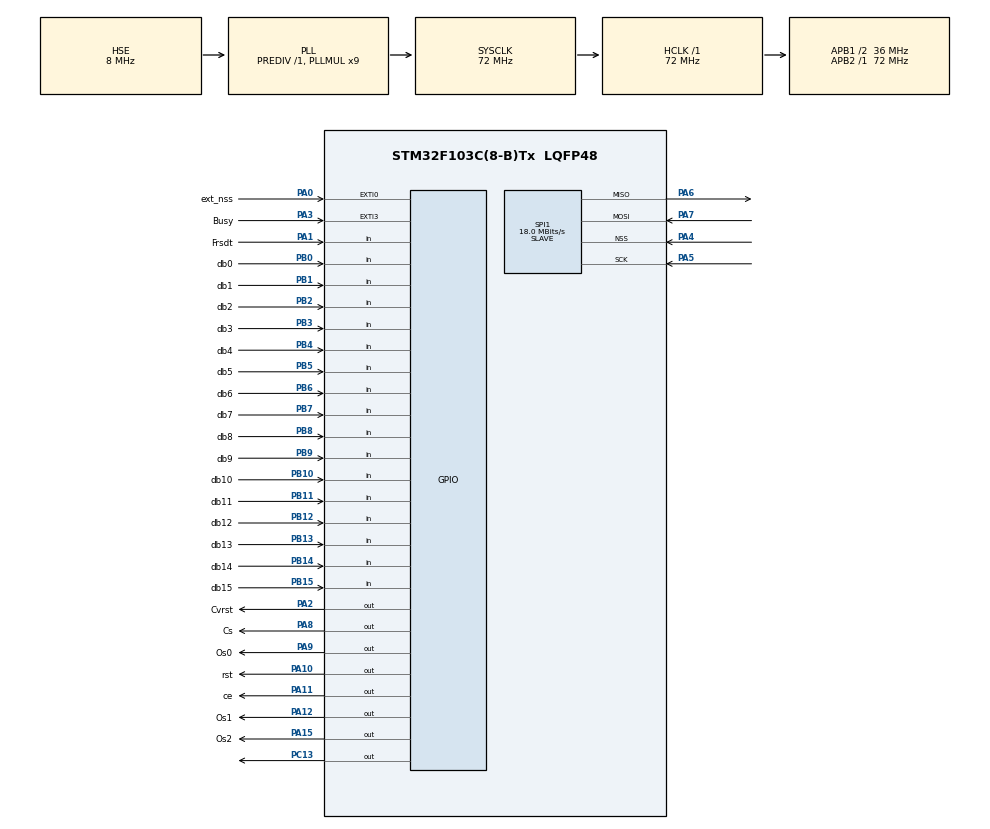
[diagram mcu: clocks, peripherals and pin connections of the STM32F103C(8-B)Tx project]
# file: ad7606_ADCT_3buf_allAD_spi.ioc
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Dma.Request0=SPI1_RX
Dma.Request1=SPI1_TX
Dma.SPI1_RX.0.Direction=DMA_PERIPH_TO_MEMORY
Dma.SPI1_RX.0.Instance=DMA1_Channel2
Dma.SPI1_RX.0.MemDataAlignment=DMA_MDATAALIGN_BYTE
Dma.SPI1_RX.0.MemInc=DMA_MINC_ENABLE
Dma.SPI1_RX.0.Mode=DMA_CIRCULAR
Dma.SPI1_RX.0.PeriphDataAlignment=DMA_PDATAALIGN_BYTE
Dma.SPI1_RX.0.PeriphInc=DMA_PINC_DISABLE
Dma.SPI1_RX.0.Priority=DMA_PRIORITY_HIGH
Dma.SPI1_TX.1.Direction=DMA_MEMORY_TO_PERIPH
Dma.SPI1_TX.1.Instance=DMA1_Channel3
Dma.SPI1_TX.1.MemDataAlignment=DMA_MDATAALIGN_BYTE
Dma.SPI1_TX.1.MemInc=DMA_MINC_ENABLE
Dma.SPI1_TX.1.Mode=DMA_CIRCULAR
Dma.SPI1_TX.1.PeriphDataAlignment=DMA_PDATAALIGN_BYTE
Dma.SPI1_TX.1.PeriphInc=DMA_PINC_DISABLE
Dma.SPI1_TX.1.Priority=DMA_PRIORITY_HIGH
FREERTOS.BinarySemaphores01=habENV,Dynamic,NULL
FREERTOS.HEAP_NUMBER=4
FREERTOS.INCLUDE_xEventGroupSetBitFromISR=0
FREERTOS.Tasks01=enviaTask,24,128,StartEnviaTask,Default,NULL,Dynamic,NULL,NULL
FREERTOS.configGENERATE_RUN_TIME_STATS=1
FREERTOS.configTOTAL_HEAP_SIZE=6072
FREERTOS.configUSE_TIMERS=1
Mcu.Family=STM32F1
Mcu.Name=STM32F103C(8-B)Tx
Mcu.Package=LQFP48
NVIC.DMA1_Channel2_IRQn=true\:5\:0\:false\:false\:true\:true\:false\:true
NVIC.DMA1_Channel3_IRQn=true\:5\:0\:true\:false\:true\:true\:false\:true
NVIC.EXTI0_IRQn=true\:5\:0\:false\:false\:true\:true\:true\:true
NVIC.EXTI3_IRQn=true\:5\:0\:true\:false\:true\:true\:true\:true
NVIC.PriorityGroup=NVIC_PRIORITYGROUP_4
NVIC.SPI1_IRQn=true\:5\:0\:true\:false\:true\:true\:true\:true
NVIC.TIM1_BRK_IRQn=true\:5\:0\:false\:false\:true\:true\:true\:true
NVIC.TIM2_IRQn=true\:0\:0\:false\:false\:true\:false\:false\:true
NVIC.TimeBase=TIM2_IRQn
NVIC.TimeBaseIP=TIM2
PA0-WKUP.GPIO_Label=ext_nss
PA0-WKUP.Signal=GPXTI0
PA1.GPIO_Label=Frsdt
PA1.Signal=GPIO_Input
PA10.GPIO_Label=rst
PA10.GPIO_Speed=GPIO_SPEED_FREQ_LOW
PA10.Signal=GPIO_Output
PA11.GPIO_Label=ce
PA11.GPIO_Speed=GPIO_SPEED_FREQ_HIGH
PA11.Signal=GPIO_Output
PA12.GPIO_Label=Os1
PA12.Signal=GPIO_Output
PA13.Mode=Serial_Wire
PA13.Signal=SYS_JTMS-SWDIO
PA14.Mode=Serial_Wire
PA14.Signal=SYS_JTCK-SWCLK
PA15.GPIO_Label=Os2
PA15.Signal=GPIO_Output
PA2.GPIO_Label=Cvrst
PA2.GPIO_Speed=GPIO_SPEED_FREQ_HIGH
PA2.PinState=GPIO_PIN_SET
PA2.Signal=GPIO_Output
PA3.GPIO_Label=Busy
PA3.GPIO_ModeDefaultEXTI=GPIO_MODE_IT_FALLING
PA3.Signal=GPXTI3
PA4.Mode=NSS_Signal_Hard_Input
PA4.Signal=SPI1_NSS
PA5.Mode=Full_Duplex_Slave
PA5.Signal=SPI1_SCK
PA6.Mode=Full_Duplex_Slave
PA6.Signal=SPI1_MISO
PA7.Mode=Full_Duplex_Slave
PA7.Signal=SPI1_MOSI
PA8.GPIO_Label=Cs
PA8.GPIO_Speed=GPIO_SPEED_FREQ_HIGH
PA8.PinState=GPIO_PIN_SET
PA8.Signal=GPIO_Output
PA9.GPIO_Label=Os0
PA9.Signal=GPIO_Output
PB0.GPIO_Label=db0
PB0.Signal=GPIO_Input
PB1.GPIO_Label=db1
PB1.Signal=GPIO_Input
PB10.GPIO_Label=db10
PB10.Signal=GPIO_Input
PB11.GPIO_Label=db11
PB11.Signal=GPIO_Input
PB12.GPIO_Label=db12
PB12.Signal=GPIO_Input
PB13.GPIO_Label=db13
PB13.Signal=GPIO_Input
PB14.GPIO_Label=db14
PB14.Signal=GPIO_Input
PB15.GPIO_Label=db15
PB15.Signal=GPIO_Input
PB2.GPIO_Label=db2
PB2.Signal=GPIO_Input
PB3.GPIO_Label=db3
PB3.Signal=GPIO_Input
PB4.GPIO_Label=db4
PB4.Signal=GPIO_Input
PB5.GPIO_Label=db5
PB5.Signal=GPIO_Input
PB6.GPIO_Label=db6
PB6.Signal=GPIO_Input
PB7.GPIO_Label=db7
PB7.Signal=GPIO_Input
PB8.GPIO_Label=db8
PB8.Signal=GPIO_Input
PB9.GPIO_Label=db9
PB9.Signal=GPIO_Input
PC13-TAMPER-RTC.Signal=GPIO_Output
PC14-OSC32_IN.Mode=LSE-External-Oscillator
PC14-OSC32_IN.Signal=RCC_OSC32_IN
PC15-OSC32_OUT.Mode=LSE-External-Oscillator
PC15-OSC32_OUT.Signal=RCC_OSC32_OUT
PD0-OSC_IN.Mode=HSE-External-Oscillator
PD0-OSC_IN.Signal=RCC_OSC_IN
PD1-OSC_OUT.Mode=HSE-External-Oscillator
PD1-OSC_OUT.Signal=RCC_OSC_OUT
ProjectManager.HeapSize=0x200
ProjectManager.StackSize=0x400
ProjectManager.TargetToolchain=STM32CubeIDE
RCC.AHBFreq_Value=72000000
RCC.APB1CLKDivider=RCC_HCLK_DIV2
RCC.APB1Freq_Value=36000000
RCC.APB1TimFreq_Value=72000000
RCC.APB2Freq_Value=72000000
RCC.APB2TimFreq_Value=72000000
RCC.HCLKFreq_Value=72000000
RCC.PLLMUL=RCC_PLL_MUL9
RCC.PLLSourceVirtual=RCC_PLLSOURCE_HSE
RCC.RTCClockSelection=RCC_RTCCLKSOURCE_LSE
RCC.SYSCLKFreq_VALUE=72000000
RCC.SYSCLKSource=RCC_SYSCLKSOURCE_PLLCLK
RCC.USBFreq_Value=48000000
RCC.USBPrescaler=RCC_USBCLKSOURCE_PLL_DIV1_5
RTC.AutoPrediv=0
RTC.Format=RTC_FORMAT_BIN
RTC.OutPut=RTC_OUTPUTSOURCE_SECOND
SPI1.BaudRatePrescaler=SPI_BAUDRATEPRESCALER_4
SPI1.CalculateBaudRate=18.0 MBits/s
SPI1.DataSize=SPI_DATASIZE_8BIT
SPI1.Direction=SPI_DIRECTION_2LINES
SPI1.Mode=SPI_MODE_SLAVE
SPI1.VirtualNSS=VM_NSSHARD
SPI1.VirtualType=VM_SLAVE
TIM1.AutoReloadPreload=TIM_AUTORELOAD_PRELOAD_ENABLE
TIM1.Period=2000
TIM1.Prescaler=35
TIM1.TIM_MasterOutputTrigger=TIM_TRGO_RESET
TIM1.TIM_MasterSlaveMode=TIM_MASTERSLAVEMODE_DISABLE
VP_FREERTOS_VS_CMSIS_V2.Mode=CMSIS_V2
VP_RTC_VS_RTC_Activate.Mode=RTC_Enabled
VP_SYS_VS_tim2.Mode=TIM2
VP_TIM1_VS_ClockSourceINT.Mode=Internal
board=custom

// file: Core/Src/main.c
/* USER CODE BEGIN Header */
/**
  ******************************************************************************
  * @file           : main.c
  * @brief          : Main program body
  ******************************************************************************
  * @attention
  *
  * <h2><center>&copy; Copyright (c) 2020 STMicroelectronics.
  * All rights reserved.</center></h2>
  *
  * This software component is licensed by ST under Ultimate Liberty license
  * SLA0044, the "License"; You may not use this file except in compliance with
  * the License. You may obtain a copy of the License at:
  *                             www.st.com/SLA0044
  *
  ******************************************************************************
  */
/* USER CODE END Header */

#include "main.h"
#include "cmsis_os.h"

/* USER CODE BEGIN Includes */
#include "stream_buffer.h"
#include "cmsis_os2.h"
/* USER CODE END Includes */

/* USER CODE BEGIN PTD */
StreamBufferHandle_t xStreamBuffer;
StreamBufferHandle_t zStreamBuffer;
/* USER CODE END PTD */

RTC_HandleTypeDef hrtc;

SPI_HandleTypeDef hspi1;
DMA_HandleTypeDef hdma_spi1_rx;
DMA_HandleTypeDef hdma_spi1_tx;

TIM_HandleTypeDef htim1;

/* Definitions for enviaTask */
osThreadId_t enviaTaskHandle;
const osThreadAttr_t enviaTask_attributes = {
  .name = "enviaTask",
  .priority = (osPriority_t) osPriorityNormal,
  .stack_size = 128 * 4
};
/* Definitions for habENV */
osSemaphoreId_t habENVHandle;
const osSemaphoreAttr_t habENV_attributes = {
  .name = "habENV"
};
/* USER CODE BEGIN PV */
int i=0, j=0, k=0;
/* USER CODE END PV */

void SystemClock_Config(void);
static void MX_GPIO_Init(void);
static void MX_DMA_Init(void);
static void MX_SPI1_Init(void);
static void MX_RTC_Init(void);
static void MX_TIM1_Init(void);
void StartEnviaTask(void *argument);

/* USER CODE BEGIN PFP */
void HAL_GPIO_EXTI_Callback(uint16_t GPIO_Pin);
void Reset(void);
void Converst(void);
void Read(void);
void vAFunction( void );
/* USER CODE END PFP */

int main(void)
{

  /* MCU Configuration--------------------------------------------------------*/

  /* Reset of all peripherals, Initializes the Flash interface and the Systick. */
  HAL_Init();

  /* Configure the system clock */
  SystemClock_Config();

  /* Initialize all configured peripherals */
  MX_GPIO_Init();
  MX_DMA_Init();
  MX_SPI1_Init();
  MX_RTC_Init();
  MX_TIM1_Init();
  /* USER CODE BEGIN 2 */
  HAL_TIM_Base_Start_IT(&htim1);
  /* USER CODE END 2 */

  /* Init scheduler */
  osKernelInitialize();

  /* Create the semaphores(s) */
  /* creation of habENV */
  habENVHandle = osSemaphoreNew(1, 1, &habENV_attributes);

  /* Create the thread(s) */
  /* creation of enviaTask */
  enviaTaskHandle = osThreadNew(StartEnviaTask, NULL, &enviaTask_attributes);

  /* Start scheduler */
  osKernelStart();

  /* We should never get here as control is now taken by the scheduler */
  /* Infinite loop */
  while (1)
  {

  }
}

void SystemClock_Config(void)
{
  RCC_OscInitTypeDef RCC_OscInitStruct = {0};
  RCC_ClkInitTypeDef RCC_ClkInitStruct = {0};
  RCC_PeriphCLKInitTypeDef PeriphClkInit = {0};

  /** Initializes the CPU, AHB and APB busses clocks
  */
  RCC_OscInitStruct.OscillatorType = RCC_OSCILLATORTYPE_HSE|RCC_OSCILLATORTYPE_LSE;
  RCC_OscInitStruct.HSEState = RCC_HSE_ON;
  RCC_OscInitStruct.HSEPredivValue = RCC_HSE_PREDIV_DIV1;
  RCC_OscInitStruct.LSEState = RCC_LSE_ON;
  RCC_OscInitStruct.HSIState = RCC_HSI_ON;
  RCC_OscInitStruct.PLL.PLLState = RCC_PLL_ON;
  RCC_OscInitStruct.PLL.PLLSource = RCC_PLLSOURCE_HSE;
  RCC_OscInitStruct.PLL.PLLMUL = RCC_PLL_MUL9;
  if (HAL_RCC_OscConfig(&RCC_OscInitStruct) != HAL_OK)
  {
    Error_Handler();
  }
  /** Initializes the CPU, AHB and APB busses clocks
  */
  RCC_ClkInitStruct.ClockType = RCC_CLOCKTYPE_HCLK|RCC_CLOCKTYPE_SYSCLK
                              |RCC_CLOCKTYPE_PCLK1|RCC_CLOCKTYPE_PCLK2;
  RCC_ClkInitStruct.SYSCLKSource = RCC_SYSCLKSOURCE_PLLCLK;
  RCC_ClkInitStruct.AHBCLKDivider = RCC_SYSCLK_DIV1;
  RCC_ClkInitStruct.APB1CLKDivider = RCC_HCLK_DIV2;
  RCC_ClkInitStruct.APB2CLKDivider = RCC_HCLK_DIV1;

  if (HAL_RCC_ClockConfig(&RCC_ClkInitStruct, FLASH_LATENCY_2) != HAL_OK)
  {
    Error_Handler();
  }
  PeriphClkInit.PeriphClockSelection = RCC_PERIPHCLK_RTC;
  PeriphClkInit.RTCClockSelection = RCC_RTCCLKSOURCE_LSE;
  if (HAL_RCCEx_PeriphCLKConfig(&PeriphClkInit) != HAL_OK)
  {
    Error_Handler();
  }
}

static void MX_RTC_Init(void)
{

  /** Initialize RTC Only
  */
  hrtc.Instance = RTC;
  hrtc.Init.AsynchPrediv = 127;
  hrtc.Init.OutPut = RTC_OUTPUTSOURCE_SECOND;
  if (HAL_RTC_Init(&hrtc) != HAL_OK)
  {
    Error_Handler();
  }

}

static void MX_SPI1_Init(void)
{

  /* SPI1 parameter configuration*/
  hspi1.Instance = SPI1;
  hspi1.Init.Mode = SPI_MODE_SLAVE;
  hspi1.Init.Direction = SPI_DIRECTION_2LINES;
  hspi1.Init.DataSize = SPI_DATASIZE_8BIT;
  hspi1.Init.CLKPolarity = SPI_POLARITY_LOW;
  hspi1.Init.CLKPhase = SPI_PHASE_1EDGE;
  hspi1.Init.NSS = SPI_NSS_HARD_INPUT;
  hspi1.Init.BaudRatePrescaler = SPI_BAUDRATEPRESCALER_4;
  hspi1.Init.FirstBit = SPI_FIRSTBIT_MSB;
  hspi1.Init.TIMode = SPI_TIMODE_DISABLE;
  hspi1.Init.CRCCalculation = SPI_CRCCALCULATION_DISABLE;
  hspi1.Init.CRCPolynomial = 10;
  if (HAL_SPI_Init(&hspi1) != HAL_OK)
  {
    Error_Handler();
  }

}

static void MX_TIM1_Init(void)
{

  TIM_ClockConfigTypeDef sClockSourceConfig = {0};
  TIM_MasterConfigTypeDef sMasterConfig = {0};

  htim1.Instance = TIM1;
  htim1.Init.Prescaler = 35;
  htim1.Init.CounterMode = TIM_COUNTERMODE_UP;
  htim1.Init.Period = 1333;
  htim1.Init.ClockDivision = TIM_CLOCKDIVISION_DIV1;
  htim1.Init.RepetitionCounter = 0;
  htim1.Init.AutoReloadPreload = TIM_AUTORELOAD_PRELOAD_ENABLE;
  if (HAL_TIM_Base_Init(&htim1) != HAL_OK)
  {
    Error_Handler();
  }
  sClockSourceConfig.ClockSource = TIM_CLOCKSOURCE_INTERNAL;
  if (HAL_TIM_ConfigClockSource(&htim1, &sClockSourceConfig) != HAL_OK)
  {
    Error_Handler();
  }
  sMasterConfig.MasterOutputTrigger = TIM_TRGO_RESET;
  sMasterConfig.MasterSlaveMode = TIM_MASTERSLAVEMODE_DISABLE;
  if (HAL_TIMEx_MasterConfigSynchronization(&htim1, &sMasterConfig) != HAL_OK)
  {
    Error_Handler();
  }

}

static void MX_DMA_Init(void)
{

  /* DMA controller clock enable */
  __HAL_RCC_DMA1_CLK_ENABLE();

  /* DMA interrupt init */
  /* DMA1_Channel2_IRQn interrupt configuration */
  HAL_NVIC_SetPriority(DMA1_Channel2_IRQn, 5, 0);
  HAL_NVIC_EnableIRQ(DMA1_Channel2_IRQn);
  /* DMA1_Channel3_IRQn interrupt configuration */
  HAL_NVIC_SetPriority(DMA1_Channel3_IRQn, 5, 0);
  HAL_NVIC_EnableIRQ(DMA1_Channel3_IRQn);

}

static void MX_GPIO_Init(void)
{
  GPIO_InitTypeDef GPIO_InitStruct = {0};

  /* GPIO Ports Clock Enable */
  __HAL_RCC_GPIOC_CLK_ENABLE();
  __HAL_RCC_GPIOD_CLK_ENABLE();
  __HAL_RCC_GPIOA_CLK_ENABLE();
  __HAL_RCC_GPIOB_CLK_ENABLE();

  /*Configure GPIO pin Output Level */
  HAL_GPIO_WritePin(GPIOC, GPIO_PIN_13, GPIO_PIN_RESET);

  /*Configure GPIO pin Output Level */
  HAL_GPIO_WritePin(GPIOA, Cvrst_Pin|Cs_Pin, GPIO_PIN_SET);

  /*Configure GPIO pin Output Level */
  HAL_GPIO_WritePin(GPIOA, Os0_Pin|rst_Pin|ce_Pin|Os1_Pin
                          |Os2_Pin, GPIO_PIN_RESET);

  /*Configure GPIO pin : PC13 */
  GPIO_InitStruct.Pin = GPIO_PIN_13;
  GPIO_InitStruct.Mode = GPIO_MODE_OUTPUT_PP;
  GPIO_InitStruct.Pull = GPIO_NOPULL;
  GPIO_InitStruct.Speed = GPIO_SPEED_FREQ_LOW;
  HAL_GPIO_Init(GPIOC, &GPIO_InitStruct);

  /*Configure GPIO pin : ext_nss_Pin */
  GPIO_InitStruct.Pin = ext_nss_Pin;
  GPIO_InitStruct.Mode = GPIO_MODE_IT_RISING;
  GPIO_InitStruct.Pull = GPIO_NOPULL;
  HAL_GPIO_Init(ext_nss_GPIO_Port, &GPIO_InitStruct);

  /*Configure GPIO pin : Frsdt_Pin */
  GPIO_InitStruct.Pin = Frsdt_Pin;
  GPIO_InitStruct.Mode = GPIO_MODE_INPUT;
  GPIO_InitStruct.Pull = GPIO_NOPULL;
  HAL_GPIO_Init(Frsdt_GPIO_Port, &GPIO_InitStruct);

  /*Configure GPIO pins : Cvrst_Pin Cs_Pin ce_Pin */
  GPIO_InitStruct.Pin = Cvrst_Pin|Cs_Pin|ce_Pin;
  GPIO_InitStruct.Mode = GPIO_MODE_OUTPUT_PP;
  GPIO_InitStruct.Pull = GPIO_NOPULL;
  GPIO_InitStruct.Speed = GPIO_SPEED_FREQ_HIGH;
  HAL_GPIO_Init(GPIOA, &GPIO_InitStruct);

  /*Configure GPIO pin : Busy_Pin */
  GPIO_InitStruct.Pin = Busy_Pin;
  GPIO_InitStruct.Mode = GPIO_MODE_IT_FALLING;
  GPIO_InitStruct.Pull = GPIO_NOPULL;
  HAL_GPIO_Init(Busy_GPIO_Port, &GPIO_InitStruct);

  /*Configure GPIO pins : db0_Pin db1_Pin db2_Pin db10_Pin
                           db11_Pin db12_Pin db13_Pin db14_Pin
                           db15_Pin db3_Pin db4_Pin db5_Pin
                           db6_Pin db7_Pin db8_Pin db9_Pin */
  GPIO_InitStruct.Pin = db0_Pin|db1_Pin|db2_Pin|db10_Pin
                          |db11_Pin|db12_Pin|db13_Pin|db14_Pin
                          |db15_Pin|db3_Pin|db4_Pin|db5_Pin
                          |db6_Pin|db7_Pin|db8_Pin|db9_Pin;
  GPIO_InitStruct.Mode = GPIO_MODE_INPUT;
  GPIO_InitStruct.Pull = GPIO_NOPULL;
  HAL_GPIO_Init(GPIOB, &GPIO_InitStruct);

  /*Configure GPIO pins : Os0_Pin rst_Pin Os1_Pin Os2_Pin */
  GPIO_InitStruct.Pin = Os0_Pin|rst_Pin|Os1_Pin|Os2_Pin;
  GPIO_InitStruct.Mode = GPIO_MODE_OUTPUT_PP;
  GPIO_InitStruct.Pull = GPIO_NOPULL;
  GPIO_InitStruct.Speed = GPIO_SPEED_FREQ_LOW;
  HAL_GPIO_Init(GPIOA, &GPIO_InitStruct);

  /* EXTI interrupt init*/
  HAL_NVIC_SetPriority(EXTI0_IRQn, 5, 0);
  HAL_NVIC_EnableIRQ(EXTI0_IRQn);

  HAL_NVIC_SetPriority(EXTI3_IRQn, 5, 0);
  HAL_NVIC_EnableIRQ(EXTI3_IRQn);

}

/* USER CODE BEGIN 4 */
void Reset(void)
{
	HAL_GPIO_WritePin(GPIOA, rst_Pin, 1);
	HAL_GPIO_WritePin(GPIOA, rst_Pin, 0);

}
void Converst(void)
{
	 HAL_GPIO_WritePin(GPIOA, Cvrst_Pin, 0);
	 HAL_GPIO_WritePin(GPIOA, Cvrst_Pin, 1);
}

 void Read(void)
{

	size_t xBytesSent;
	size_t zBytesSent;
	BaseType_t xHigherPriorityTaskWoken = pdFALSE;
	BaseType_t xEmpty;
	BaseType_t zEmpty;
	uint16_t valor;
	static unsigned char valor2;
	static unsigned char valor3;
	static unsigned char canais[400];

		for (i=0+k; i<k+16;)
			{
				HAL_GPIO_WritePin(GPIOA, Cs_Pin, 0);
				HAL_GPIO_WritePin(GPIOA, ce_Pin, 1);

				valor = GPIOB->IDR;
				valor2 = (valor & 255);
				valor3 = ((valor>>8) & 255);
				canais[i]= valor3;
				canais[i+1]= valor2;

			//if (HAL_GPIO_ReadPin(GPIOA, Frsdt_Pin)==1)
			////{
				//i=0;
			//}

				i=i+2;
				HAL_GPIO_WritePin(GPIOA, Cs_Pin, 1);
				HAL_GPIO_WritePin(GPIOA, ce_Pin, 0);

			}
		j=j+1;
		k=k+16;

		if(j>=24)
		 	{
			  __HAL_TIM_DISABLE_IT(&htim1, TIM_IT_BREAK);
			  xEmpty = xStreamBufferIsEmpty(xStreamBuffer );
			  if (xEmpty==pdTRUE)
			  {
			   xBytesSent = xStreamBufferSendFromISR (xStreamBuffer, (void *) canais, 400, & xHigherPriorityTaskWoken);

			   if (xBytesSent == sizeof( canais ))
			    {
			     osSemaphoreRelease (habENVHandle);
			    }
			  }
			 else if (xEmpty==pdFALSE)
			  {
			   zEmpty = xStreamBufferIsEmpty(zStreamBuffer );
			   if (zEmpty==pdTRUE)
			    {
				 zBytesSent = xStreamBufferSendFromISR (zStreamBuffer, (void *) canais, 400, & xHigherPriorityTaskWoken);

				  if (zBytesSent == sizeof( canais ))
				   {
				    osSemaphoreRelease (habENVHandle);
				   }
		 	    }
	          }
		 	}
}

/* USER CODE BEGIN 4 */

 void HAL_GPIO_EXTI_Callback(uint16_t GPIO_Pin)
 {
 	if (GPIO_Pin == Busy_Pin)

 	{

 		Read();

 	}

 }
void vAFunction( void )
{
	//StreamBufferHandle_t xStreamBuffers;
	const size_t xStreamBufferSizeBytes = 400, xTriggerLevel = 400;
	const size_t zStreamBufferSizeBytes = 400, zTriggerLevel = 400;

    /* Create a stream buffer that can hold 100 bytes.  The memory used to hold
    both the stream buffer structure and the data in the stream buffer is
    allocated dynamically. */
    xStreamBuffer = xStreamBufferCreate( xStreamBufferSizeBytes, xTriggerLevel );
    zStreamBuffer = xStreamBufferCreate( zStreamBufferSizeBytes, zTriggerLevel );

    //if( xStreamBuffer == NULL )
    //{
        /* There was not enough heap memory space available to create the
        stream buffer. */
   // }
   // else
    //{
        /* The stream buffer was created successfully and can now be used. */
   // }
}

/* USER CODE END 4 */

void StartEnviaTask(void *argument)
{
  /* USER CODE BEGIN 5 */
	vAFunction();
	static unsigned char ucRxData[400];
	size_t xReceivedBytes;
	size_t zReceivedBytes;
	BaseType_t xFull;
	BaseType_t zFull;
	const TickType_t xBlockTime = pdMS_TO_TICKS( 20 );
  /* Infinite loop */
  for(;;)
  {
	  osSemaphoreAcquire (habENVHandle, osWaitForever);
	  i=0, j=0, k=0;
	  xFull = xStreamBufferIsFull( xStreamBuffer );
	  if (xFull==pdTRUE)
	   {
		 xReceivedBytes = xStreamBufferReceive( xStreamBuffer, (void *)ucRxData, 400, xBlockTime );
		 if( xReceivedBytes == sizeof( ucRxData ) )
		  {
		  	HAL_SPI_Transmit_DMA(&hspi1, ucRxData, 400);
		  	xStreamBufferReset(zStreamBuffer);
		  	__HAL_TIM_ENABLE_IT(&htim1, TIM_IT_BREAK);
		  }
	  	}
	  else if (xFull==pdFALSE)
	  	{
	  	  zFull = xStreamBufferIsFull( zStreamBuffer );
	  	  if (zFull==pdTRUE)
	  	    {
	  		 zReceivedBytes = xStreamBufferReceive( zStreamBuffer, (void *)ucRxData, 400, xBlockTime );
	  		 if( zReceivedBytes == sizeof( ucRxData ) )
	  		   {
	  			HAL_SPI_Transmit_DMA(&hspi1, ucRxData, 400);
	  			xStreamBufferReset(xStreamBuffer);
	  			__HAL_TIM_ENABLE_IT(&htim1, TIM_IT_BREAK);
	  			}
	  	     }
	  	}
  }

}

  /* USER CODE END 5 */

 /**
  * @brief  Period elapsed callback in non blocking mode
  * @note   This function is called  when TIM2 interrupt took place, inside
  * HAL_TIM_IRQHandler(). It makes a direct call to HAL_IncTick() to increment
  * a global variable "uwTick" used as application time base.
  * @param  htim : TIM handle
  * @retval None
  */
void HAL_TIM_PeriodElapsedCallback(TIM_HandleTypeDef *htim)
{
  if (htim->Instance == TIM2) {
    HAL_IncTick();
  }
  /* USER CODE BEGIN Callback 1 */
  if (htim->Instance == TIM1) {

      Converst();
    }
  /* USER CODE END Callback 1 */
}

void Error_Handler(void)
{
}

/************************ (C) COPYRIGHT STMicroelectronics *****END OF FILE****/
